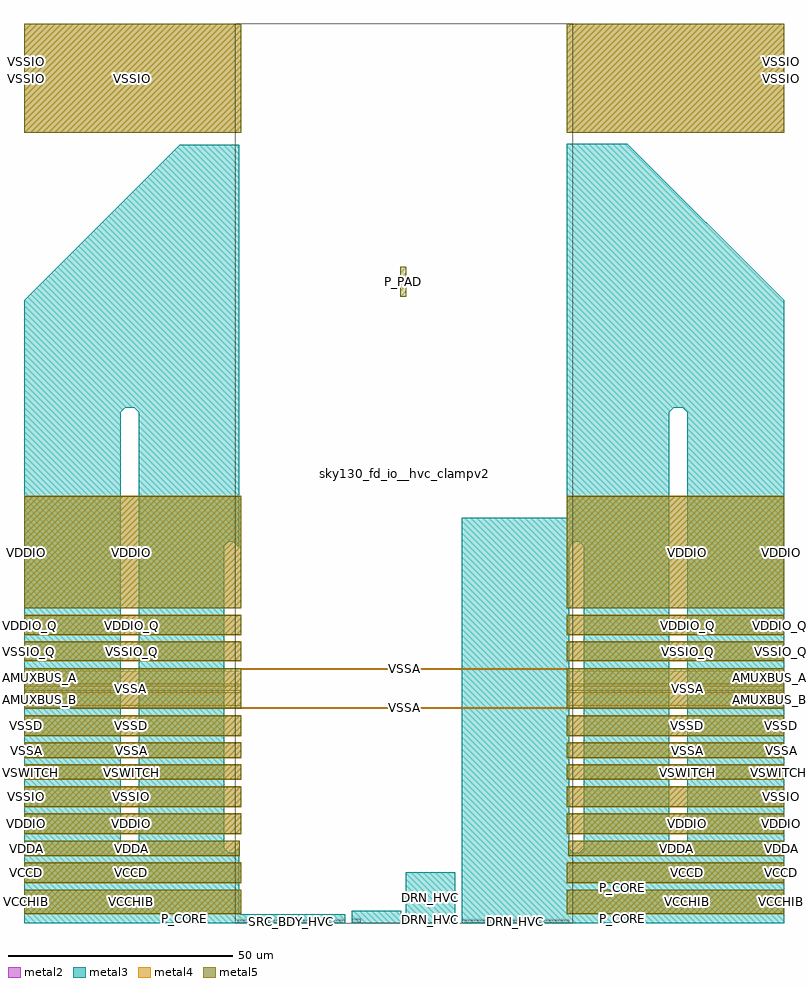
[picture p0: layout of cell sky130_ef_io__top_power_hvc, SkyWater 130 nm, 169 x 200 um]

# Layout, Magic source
magic
tech sky130A
magscale 1 2
<< metal2 >>
rect 9499 8993 14279 9141
rect 14579 8993 14979 9189
rect 19478 8993 24258 9141
<< metal3 >>
tri 0 36705 6919 43624 se
rect 6919 36705 9579 43624
rect 0 31925 9579 36705
rect 0 12130 4307 31925
tri 4307 31727 4505 31925 nw
tri 4897 31727 5095 31925 ne
rect 5095 31727 9579 31925
tri 5095 31725 5097 31727 ne
rect 5097 31030 9579 31727
rect 5096 25948 9579 31030
tri 5093 12327 5096 12330 se
rect 5096 12327 8904 25948
tri 8904 25748 9104 25948 nw
tri 9299 25748 9499 25948 ne
rect 9499 25748 9579 25948
rect 24146 36695 26838 43657
tri 26838 36695 33800 43657 sw
rect 24146 31925 33800 36695
rect 24146 31125 28705 31925
tri 28705 31725 28905 31925 nw
tri 29296 31725 29496 31925 ne
rect 24146 25948 28704 31125
rect 24146 25748 24258 25948
tri 24258 25748 24458 25948 nw
tri 24696 25748 24896 25948 ne
tri 4307 12130 4504 12327 sw
tri 4896 12130 5093 12327 se
rect 5093 12130 8904 12327
tri 8904 12130 9104 12330 sw
tri 9299 12130 9499 12330 se
rect 9499 12130 9579 12330
rect 24146 12130 24258 12330
tri 24258 12130 24458 12330 sw
tri 24696 12130 24896 12330 se
rect 24896 12130 28704 25948
tri 28704 12130 28904 12330 sw
tri 29296 12130 29496 12330 se
rect 29496 12130 33800 31925
rect 0 9384 9579 12130
rect 0 8993 14279 9384
rect 14579 8993 16779 9538
rect 16978 8993 19178 11259
rect 19478 8993 33800 12130
<< metal4 >>
rect 0 44150 9641 48993
rect 33546 44150 33800 48993
rect 0 23000 9543 27993
rect 25177 23000 33800 27993
rect 0 21810 9543 22700
rect 25177 21810 33800 22700
rect 0 20640 9543 21530
rect 25177 20640 33800 21530
rect 0 20274 33800 20340
rect 0 19618 254 20214
rect 33546 19618 33800 20214
rect 0 19322 9448 19558
rect 25177 19322 33800 19558
rect 0 18666 254 19262
rect 33546 18666 33800 19262
rect 0 18540 33800 18606
rect 0 17310 9450 18240
rect 25177 17310 33800 18240
rect 0 16340 9543 17030
rect 25177 16340 33800 17030
rect 0 15370 9543 16060
rect 25177 15370 33800 16060
rect 0 14160 9543 15090
rect 33546 14160 33800 15090
rect 0 12950 9543 13880
rect 24241 12950 33800 13880
rect 0 11980 9543 12670
rect 24241 11980 33800 12670
rect 0 10770 9543 11700
rect 25177 10770 33800 11700
rect 0 9400 9543 10490
rect 25177 9400 33800 10490
<< metal5 >>
rect 0 44150 254 48993
rect 33546 44150 33800 48993
rect 16729 36858 16994 38180
rect 0 23000 9543 27990
rect 33546 23000 33800 27990
rect 0 21830 9543 22680
rect 33546 21830 33800 22680
rect 0 20660 9543 21510
rect 33546 20660 33800 21510
rect 0 18540 9448 20340
rect 33546 18540 33800 20340
rect 0 17330 9543 18220
rect 33546 17330 33800 18220
rect 0 16360 9543 17010
rect 25177 16360 33800 17010
rect 0 15390 9543 16040
rect 33546 15390 33800 16040
rect 0 14180 9543 15070
rect 33546 14180 33800 15070
rect 0 12970 9543 13860
rect 25177 12970 33800 13860
rect 0 12000 9543 12650
rect 33546 12000 33800 12650
rect 0 10790 9543 11680
rect 33546 10790 33800 11680
rect 0 9420 9543 10470
rect 33546 9420 33800 10470
use sky130_fd_io__top_power_hvc_wpadv2  sky130_fd_io__top_power_hvc_wpadv2_0
transform 1 0 9400 0 1 8993
box 0 0 15000 40000
use sky130_ef_io__com_bus_slice_1um  sky130_ef_io__com_bus_slice_1um_2
transform 1 0 200 0 1 9400
box 0 0 200 39593
use sky130_ef_io__com_bus_slice_1um  sky130_ef_io__com_bus_slice_1um_3
transform 1 0 0 0 1 9400
box 0 0 200 39593
use sky130_ef_io__com_bus_slice_5um  sky130_ef_io__com_bus_slice_5um_1
transform 1 0 400 0 1 9400
box 0 0 1000 39593
use sky130_ef_io__com_bus_slice_20um  sky130_ef_io__com_bus_slice_20um_2
transform 1 0 5400 0 1 9400
box 0 0 4000 39593
use sky130_ef_io__com_bus_slice_20um  sky130_ef_io__com_bus_slice_20um_3
transform 1 0 1400 0 1 9400
box 0 0 4000 39593
use sky130_ef_io__com_bus_slice_20um  sky130_ef_io__com_bus_slice_20um_0
transform 1 0 28400 0 1 9400
box 0 0 4000 39593
use sky130_ef_io__com_bus_slice_20um  sky130_ef_io__com_bus_slice_20um_1
transform 1 0 24400 0 1 9400
box 0 0 4000 39593
use sky130_ef_io__com_bus_slice_1um  sky130_ef_io__com_bus_slice_1um_0
transform 1 0 33600 0 1 9400
box 0 0 200 39593
use sky130_ef_io__com_bus_slice_1um  sky130_ef_io__com_bus_slice_1um_1
transform 1 0 33400 0 1 9400
box 0 0 200 39593
use sky130_ef_io__com_bus_slice_5um  sky130_ef_io__com_bus_slice_5um_0
transform 1 0 32400 0 1 9400
box 0 0 1000 39593
<< labels >>
flabel metal4 s 33546 19618 33800 20214 3 FreeSans 650 180 0 0 AMUXBUS_A
port 1 nsew signal bidirectional
flabel metal4 s 0 19618 254 20214 3 FreeSans 650 0 0 0 AMUXBUS_A
port 1 nsew signal bidirectional
flabel metal4 s 33546 18666 33800 19262 3 FreeSans 650 180 0 0 AMUXBUS_B
port 2 nsew signal bidirectional
flabel metal4 s 0 18666 254 19262 3 FreeSans 650 0 0 0 AMUXBUS_B
port 2 nsew signal bidirectional
flabel metal2 s 19478 8993 24258 9141 2 FreeSans 2500 90 0 0 DRN_HVC
port 3 nsew power bidirectional
flabel metal3 s 16978 8993 19178 9311 0 FreeSans 2500 0 0 0 DRN_HVC
port 3 nsew power bidirectional
flabel metal2 s 9499 8993 14279 9141 2 FreeSans 2500 90 0 0 SRC_BDY_HVC
port 6 nsew ground bidirectional
flabel metal3 s 14579 8993 16779 9141 2 FreeSans 2500 90 0 0 SRC_BDY_HVC
port 6 nsew ground bidirectional
flabel metal5 s 16729 36858 16994 38180 0 FreeSans 2500 0 0 0 P_PAD
port 5 nsew power bidirectional
flabel metal5 s 33546 18540 33800 20340 3 FreeSans 650 180 0 0 VSSA
port 8 nsew ground bidirectional
flabel metal5 s 33546 16361 33800 17010 3 FreeSans 650 180 0 0 VSSA
port 8 nsew ground bidirectional
flabel metal4 s 33546 19322 33800 19558 3 FreeSans 650 180 0 0 VSSA
port 8 nsew ground bidirectional
flabel metal4 s 33546 20274 33800 20340 3 FreeSans 650 180 0 0 VSSA
port 8 nsew ground bidirectional
flabel metal4 s 33546 18540 33800 18606 3 FreeSans 650 180 0 0 VSSA
port 8 nsew ground bidirectional
flabel metal4 s 33546 16340 33800 17030 3 FreeSans 650 180 0 0 VSSA
port 8 nsew ground bidirectional
flabel metal5 s 0 18540 254 20340 3 FreeSans 650 0 0 0 VSSA
port 8 nsew ground bidirectional
flabel metal5 s 0 16361 254 17010 3 FreeSans 650 0 0 0 VSSA
port 8 nsew ground bidirectional
flabel metal4 s 0 18540 254 18606 3 FreeSans 650 0 0 0 VSSA
port 8 nsew ground bidirectional
flabel metal4 s 0 19322 254 19558 3 FreeSans 650 0 0 0 VSSA
port 8 nsew ground bidirectional
flabel metal4 s 0 20274 254 20340 3 FreeSans 650 0 0 0 VSSA
port 8 nsew ground bidirectional
flabel metal4 s 0 16340 254 17030 3 FreeSans 650 0 0 0 VSSA
port 8 nsew ground bidirectional
flabel metal3 s 0 8993 14279 9384 0 FreeSans 2500 0 0 0 P_CORE
port 4 nsew power bidirectional
flabel metal3 s 19478 8993 33757 9384 0 FreeSans 2500 0 0 0 P_CORE
port 4 nsew power bidirectional
flabel metal5 s 33607 12000 33800 12650 3 FreeSans 650 180 0 0 VDDA
port 9 nsew power bidirectional
flabel metal4 s 33607 11980 33800 12670 3 FreeSans 650 180 0 0 VDDA
port 9 nsew power bidirectional
flabel metal5 s 0 12000 193 12650 3 FreeSans 650 0 0 0 VDDA
port 9 nsew power bidirectional
flabel metal4 s 0 11980 193 12670 3 FreeSans 650 0 0 0 VDDA
port 9 nsew power bidirectional
flabel metal5 s 33546 15390 33800 16040 3 FreeSans 650 180 0 0 VSWITCH
port 10 nsew power bidirectional
flabel metal4 s 33546 15370 33800 16060 3 FreeSans 650 180 0 0 VSWITCH
port 10 nsew power bidirectional
flabel metal5 s 0 15390 254 16040 3 FreeSans 650 0 0 0 VSWITCH
port 10 nsew power bidirectional
flabel metal4 s 0 15370 254 16060 3 FreeSans 650 0 0 0 VSWITCH
port 10 nsew power bidirectional
flabel metal5 s 33546 21830 33800 22680 3 FreeSans 650 180 0 0 VDDIO_Q
port 11 nsew power bidirectional
flabel metal4 s 33546 21810 33800 22700 3 FreeSans 650 180 0 0 VDDIO_Q
port 11 nsew power bidirectional
flabel metal5 s 0 21830 254 22680 3 FreeSans 650 0 0 0 VDDIO_Q
port 11 nsew power bidirectional
flabel metal4 s 0 21810 254 22700 3 FreeSans 650 0 0 0 VDDIO_Q
port 11 nsew power bidirectional
flabel metal5 s 33546 9420 33800 10470 3 FreeSans 650 180 0 0 VCCHIB
port 12 nsew power bidirectional
flabel metal4 s 33546 9400 33800 10490 3 FreeSans 650 180 0 0 VCCHIB
port 12 nsew power bidirectional
flabel metal5 s 0 9420 254 10470 3 FreeSans 650 0 0 0 VCCHIB
port 12 nsew power bidirectional
flabel metal4 s 0 9400 254 10490 3 FreeSans 650 0 0 0 VCCHIB
port 12 nsew power bidirectional
flabel metal5 s 33546 23000 33800 27990 3 FreeSans 650 180 0 0 VDDIO
port 13 nsew power bidirectional
flabel metal5 s 33546 12970 33800 13860 3 FreeSans 650 180 0 0 VDDIO
port 13 nsew power bidirectional
flabel metal4 s 33546 12950 33800 13880 3 FreeSans 650 180 0 0 VDDIO
port 13 nsew power bidirectional
flabel metal4 s 33546 23000 33800 27993 3 FreeSans 650 180 0 0 VDDIO
port 13 nsew power bidirectional
flabel metal5 s 0 23000 254 27990 3 FreeSans 650 0 0 0 VDDIO
port 13 nsew power bidirectional
flabel metal5 s 0 12970 254 13860 3 FreeSans 650 0 0 0 VDDIO
port 13 nsew power bidirectional
flabel metal4 s 0 12950 254 13880 3 FreeSans 650 0 0 0 VDDIO
port 13 nsew power bidirectional
flabel metal4 s 0 23000 254 27993 3 FreeSans 650 0 0 0 VDDIO
port 13 nsew power bidirectional
flabel metal5 s 33546 10790 33800 11680 3 FreeSans 650 180 0 0 VCCD
port 14 nsew power bidirectional
flabel metal4 s 33546 10770 33800 11700 3 FreeSans 650 180 0 0 VCCD
port 14 nsew power bidirectional
flabel metal5 s 0 10790 254 11680 3 FreeSans 650 0 0 0 VCCD
port 14 nsew power bidirectional
flabel metal4 s 0 10770 254 11700 3 FreeSans 650 0 0 0 VCCD
port 14 nsew power bidirectional
flabel metal4 s 33546 44150 33800 48993 3 FreeSans 650 180 0 0 VSSIO
port 15 nsew ground bidirectional
flabel metal4 s 33673 47314 33673 47314 3 FreeSans 650 180 0 0 VSSIO
port 15 nsew
flabel metal5 s 33546 14180 33800 15070 3 FreeSans 650 180 0 0 VSSIO
port 15 nsew ground bidirectional
flabel metal4 s 33546 14160 33800 15090 3 FreeSans 650 180 0 0 VSSIO
port 15 nsew ground bidirectional
flabel metal4 s 33673 46571 33673 46571 3 FreeSans 650 180 0 0 VSSIO
port 15 nsew
flabel metal4 s 0 44150 254 48993 3 FreeSans 650 0 0 0 VSSIO
port 15 nsew ground bidirectional
flabel metal4 s 127 47314 127 47314 3 FreeSans 650 0 0 0 VSSIO
port 15 nsew
flabel metal5 s 0 14180 254 15070 3 FreeSans 650 0 0 0 VSSIO
port 15 nsew ground bidirectional
flabel metal4 s 127 46571 127 46571 3 FreeSans 650 0 0 0 VSSIO
port 15 nsew
flabel metal4 s 0 14160 254 15090 3 FreeSans 650 0 0 0 VSSIO
port 15 nsew ground bidirectional
flabel metal5 s 33546 17330 33800 18220 3 FreeSans 650 180 0 0 VSSD
port 16 nsew ground bidirectional
flabel metal4 s 33546 17310 33800 18240 3 FreeSans 650 180 0 0 VSSD
port 16 nsew ground bidirectional
flabel metal5 s 0 17330 254 18220 3 FreeSans 650 0 0 0 VSSD
port 16 nsew ground bidirectional
flabel metal4 s 0 17310 254 18240 3 FreeSans 650 0 0 0 VSSD
port 16 nsew ground bidirectional
flabel metal5 s 33546 20660 33800 21510 3 FreeSans 650 180 0 0 VSSIO_Q
port 17 nsew ground bidirectional
flabel metal4 s 33546 20640 33800 21530 3 FreeSans 650 180 0 0 VSSIO_Q
port 17 nsew ground bidirectional
flabel metal5 s 0 20660 254 21510 3 FreeSans 650 0 0 0 VSSIO_Q
port 17 nsew ground bidirectional
flabel metal4 s 0 20640 254 21530 3 FreeSans 650 0 0 0 VSSIO_Q
port 17 nsew ground bidirectional
rlabel metal4 s 0 19618 254 20214 1 AMUXBUS_A
port 1 nsew signal bidirectional
rlabel metal4 s 0 18666 254 19262 1 AMUXBUS_B
port 2 nsew signal bidirectional
rlabel metal3 s 16978 8993 19178 11259 1 DRN_HVC
port 3 nsew power bidirectional
rlabel metal3 s 19478 8993 33800 12130 1 P_CORE
port 4 nsew power bidirectional
rlabel metal3 s 14579 8993 16779 9538 1 SRC_BDY_HVC
port 6 nsew ground bidirectional
rlabel metal5 s 25177 16360 33800 17010 1 VSSA
port 7 nsew ground bidirectional
rlabel metal4 s 25177 19322 33800 19558 1 VSSA
port 7 nsew ground bidirectional
rlabel metal4 s 0 20274 33800 20340 1 VSSA
port 7 nsew ground bidirectional
rlabel metal4 s 0 18540 33800 18606 1 VSSA
port 7 nsew ground bidirectional
rlabel metal4 s 25177 16340 33800 17030 1 VSSA
port 7 nsew ground bidirectional
rlabel metal5 s 0 18540 9448 20340 1 VSSA
port 7 nsew ground bidirectional
rlabel metal5 s 0 16360 9543 17010 1 VSSA
port 7 nsew ground bidirectional
rlabel metal4 s 0 18540 254 18606 1 VSSA
port 7 nsew ground bidirectional
rlabel metal4 s 0 19322 9448 19558 1 VSSA
port 7 nsew ground bidirectional
rlabel metal4 s 0 20274 254 20340 1 VSSA
port 7 nsew ground bidirectional
rlabel metal4 s 0 16340 9543 17030 1 VSSA
port 7 nsew ground bidirectional
rlabel metal4 s 24241 11980 33800 12670 1 VDDA
port 8 nsew power bidirectional
rlabel metal5 s 0 12000 9543 12650 1 VDDA
port 8 nsew power bidirectional
rlabel metal4 s 0 11980 9543 12670 1 VDDA
port 8 nsew power bidirectional
rlabel metal4 s 25177 15370 33800 16060 1 VSWITCH
port 9 nsew power bidirectional
rlabel metal5 s 0 15390 9543 16040 1 VSWITCH
port 9 nsew power bidirectional
rlabel metal4 s 0 15370 9543 16060 1 VSWITCH
port 9 nsew power bidirectional
rlabel metal4 s 25177 21810 33800 22700 1 VDDIO_Q
port 10 nsew power bidirectional
rlabel metal5 s 0 21830 9543 22680 1 VDDIO_Q
port 10 nsew power bidirectional
rlabel metal4 s 0 21810 9543 22700 1 VDDIO_Q
port 10 nsew power bidirectional
rlabel metal4 s 25177 9400 33800 10490 1 VCCHIB
port 11 nsew power bidirectional
rlabel metal5 s 0 9420 9543 10470 1 VCCHIB
port 11 nsew power bidirectional
rlabel metal4 s 0 9400 9543 10490 1 VCCHIB
port 11 nsew power bidirectional
rlabel metal5 s 25177 12970 33800 13860 1 VDDIO
port 12 nsew power bidirectional
rlabel metal4 s 24241 12950 33800 13880 1 VDDIO
port 12 nsew power bidirectional
rlabel metal4 s 25177 23000 33800 27993 1 VDDIO
port 12 nsew power bidirectional
rlabel metal5 s 0 23000 9543 27990 1 VDDIO
port 12 nsew power bidirectional
rlabel metal5 s 0 12970 9543 13860 1 VDDIO
port 12 nsew power bidirectional
rlabel metal4 s 0 12950 9543 13880 1 VDDIO
port 12 nsew power bidirectional
rlabel metal4 s 0 23000 9543 27993 1 VDDIO
port 12 nsew power bidirectional
rlabel metal4 s 25177 10770 33800 11700 1 VCCD
port 13 nsew power bidirectional
rlabel metal5 s 0 10790 9543 11680 1 VCCD
port 13 nsew power bidirectional
rlabel metal4 s 0 10770 9543 11700 1 VCCD
port 13 nsew power bidirectional
rlabel metal4 s 0 44150 9641 48993 1 VSSIO
port 14 nsew ground bidirectional
rlabel metal4 s 126 47313 128 47315 1 VSSIO
port 14 nsew ground bidirectional
rlabel metal5 s 0 14180 9543 15070 1 VSSIO
port 14 nsew ground bidirectional
rlabel metal4 s 0 44150 254 48993 1 VSSIO
port 14 nsew ground bidirectional
rlabel metal4 s 0 14160 9543 15090 1 VSSIO
port 14 nsew ground bidirectional
rlabel metal4 s 25177 17310 33800 18240 1 VSSD
port 15 nsew ground bidirectional
rlabel metal5 s 0 17330 9543 18220 1 VSSD
port 15 nsew ground bidirectional
rlabel metal4 s 0 17310 9450 18240 1 VSSD
port 15 nsew ground bidirectional
rlabel metal4 s 25177 20640 33800 21530 1 VSSIO_Q
port 16 nsew ground bidirectional
rlabel metal5 s 0 20660 9543 21510 1 VSSIO_Q
port 16 nsew ground bidirectional
rlabel metal4 s 0 20640 9543 21530 1 VSSIO_Q
port 16 nsew ground bidirectional
<< properties >>
string LEFclass PAD POWER
string FIXED_BBOX 0 9400 33800 48993
string GDS_FILE $PDKPATH/libs.ref/sky130_fd_io/gds/sky130_ef_io.gds
string GDS_END 1824342
string GDS_START 1807708
<< end >>

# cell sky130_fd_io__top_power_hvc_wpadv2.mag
magic
tech sky130A
magscale 1 2
<< metal2 >>
rect 99 0 4879 148
rect 5179 0 5579 107
rect 10078 0 14858 148
<< metal3 >>
rect 99 0 4879 391
rect 5179 0 7379 545
rect 7578 0 9778 2266
rect 10078 0 14858 18037
<< metal4 >>
rect 0 35157 254 40000
rect 14746 35157 15000 40000
rect 0 14007 254 19000
rect 14746 14007 15000 19000
rect 0 12817 254 13707
rect 14746 12817 15000 13707
rect 0 11647 254 12537
rect 14746 11647 15000 12537
rect 0 11281 15000 11347
rect 0 10625 254 11221
rect 14746 10625 15000 11221
rect 0 10329 254 10565
rect 14746 10329 15000 10565
rect 0 9673 254 10269
rect 14746 9673 15000 10269
rect 0 9547 15000 9613
rect 0 8317 254 9247
rect 14746 8317 15000 9247
rect 0 7347 254 8037
rect 14746 7347 15000 8037
rect 0 6377 254 7067
rect 14746 6377 15000 7067
rect 0 5167 254 6097
rect 14746 5167 15000 6097
rect 0 3957 254 4887
rect 14746 3957 15000 4887
rect 0 2987 193 3677
rect 14807 2987 15000 3677
rect 0 1777 254 2707
rect 14746 1777 15000 2707
rect 0 407 254 1497
rect 14746 407 15000 1497
<< metal5 >>
rect 0 35157 254 40000
rect 14746 35157 15000 40000
rect 7329 27865 7594 29187
rect 0 14007 254 18997
rect 14746 14007 15000 18997
rect 0 12837 254 13687
rect 14746 12837 15000 13687
rect 0 11667 254 12517
rect 14746 11667 15000 12517
rect 0 9547 254 11347
rect 14746 9547 15000 11347
rect 0 8337 254 9227
rect 14746 8337 15000 9227
rect 0 7368 254 8017
rect 14746 7368 15000 8017
rect 0 6397 254 7047
rect 14746 6397 15000 7047
rect 0 5187 254 6077
rect 14746 5187 15000 6077
rect 0 3977 254 4867
rect 14746 3977 15000 4867
rect 0 3007 193 3657
rect 14807 3007 15000 3657
rect 0 1797 254 2687
rect 14746 1797 15000 2687
rect 0 427 254 1477
rect 14746 427 15000 1477
use sky130_fd_io__hvc_clampv2  sky130_fd_io__hvc_clampv2_0
transform 1 0 0 0 1 0
box 0 0 15000 40000
<< labels >>
flabel metal3 s 99 0 4879 391 0 FreeSans 2000 0 0 0 P_CORE
port 1 nsew default bidirectional
flabel metal3 s 7578 0 9778 318 0 FreeSans 2000 0 0 0 DRN_HVC
port 2 nsew default bidirectional
flabel metal3 s 10078 0 14858 391 0 FreeSans 2000 0 0 0 P_CORE
port 1 nsew default bidirectional
flabel metal3 s 5179 0 7379 148 2 FreeSans 2000 90 0 0 SRC_BDY_HVC
port 3 nsew default bidirectional
flabel metal2 s 10078 0 14858 148 2 FreeSans 2000 90 0 0 DRN_HVC
port 2 nsew default bidirectional
flabel metal2 s 99 0 4879 148 2 FreeSans 2000 90 0 0 SRC_BDY_HVC
port 3 nsew default bidirectional
flabel metal2 s 5179 0 5579 107 2 FreeSans 1000 90 0 0 OGC_HVC
port 4 nsew default bidirectional
flabel metal4 s 0 7347 254 8037 3 FreeSans 520 0 0 0 VSSA
port 5 nsew default bidirectional
flabel metal4 s 0 8317 254 9247 3 FreeSans 520 0 0 0 VSSD
port 6 nsew default bidirectional
flabel metal4 s 0 9673 254 10269 3 FreeSans 520 0 0 0 AMUXBUS_B
port 7 nsew default bidirectional
flabel metal4 s 0 10625 254 11221 3 FreeSans 520 0 0 0 AMUXBUS_A
port 8 nsew default bidirectional
flabel metal4 s 0 12817 254 13707 3 FreeSans 520 0 0 0 VDDIO_Q
port 9 nsew default bidirectional
flabel metal4 s 0 14007 254 19000 3 FreeSans 520 0 0 0 VDDIO
port 10 nsew default bidirectional
flabel metal4 s 0 6377 254 7067 3 FreeSans 520 0 0 0 VSWITCH
port 11 nsew default bidirectional
flabel metal4 s 0 5167 254 6097 3 FreeSans 520 0 0 0 VSSIO
port 12 nsew default bidirectional
flabel metal4 s 0 3957 254 4887 3 FreeSans 520 0 0 0 VDDIO
port 10 nsew default bidirectional
flabel metal4 s 0 2987 193 3677 3 FreeSans 520 0 0 0 VDDA
port 13 nsew default bidirectional
flabel metal4 s 0 1777 254 2707 3 FreeSans 520 0 0 0 VCCD
port 14 nsew default bidirectional
flabel metal4 s 0 407 254 1497 3 FreeSans 520 0 0 0 VCCHIB
port 15 nsew default bidirectional
flabel metal4 s 0 11281 254 11347 3 FreeSans 520 0 0 0 VSSA
port 5 nsew default bidirectional
flabel metal4 s 0 11647 254 12537 3 FreeSans 520 0 0 0 VSSIO_Q
port 16 nsew default bidirectional
flabel metal4 s 0 9547 254 9613 3 FreeSans 520 0 0 0 VSSA
port 5 nsew default bidirectional
flabel metal4 s 0 10329 254 10565 3 FreeSans 520 0 0 0 VSSA
port 5 nsew default bidirectional
flabel metal4 s 14746 7347 15000 8037 3 FreeSans 520 180 0 0 VSSA
port 5 nsew default bidirectional
flabel metal4 s 14746 8317 15000 9247 3 FreeSans 520 180 0 0 VSSD
port 6 nsew default bidirectional
flabel metal4 s 14746 9673 15000 10269 3 FreeSans 520 180 0 0 AMUXBUS_B
port 7 nsew default bidirectional
flabel metal4 s 14746 10625 15000 11221 3 FreeSans 520 180 0 0 AMUXBUS_A
port 8 nsew default bidirectional
flabel metal4 s 14746 12817 15000 13707 3 FreeSans 520 180 0 0 VDDIO_Q
port 9 nsew default bidirectional
flabel metal4 s 14746 14007 15000 19000 3 FreeSans 520 180 0 0 VDDIO
port 10 nsew default bidirectional
flabel metal4 s 14746 6377 15000 7067 3 FreeSans 520 180 0 0 VSWITCH
port 11 nsew default bidirectional
flabel metal4 s 14746 5167 15000 6097 3 FreeSans 520 180 0 0 VSSIO
port 12 nsew default bidirectional
flabel metal4 s 14746 3957 15000 4887 3 FreeSans 520 180 0 0 VDDIO
port 10 nsew default bidirectional
flabel metal4 s 14807 2987 15000 3677 3 FreeSans 520 180 0 0 VDDA
port 13 nsew default bidirectional
flabel metal4 s 14746 1777 15000 2707 3 FreeSans 520 180 0 0 VCCD
port 14 nsew default bidirectional
flabel metal4 s 14746 407 15000 1497 3 FreeSans 520 180 0 0 VCCHIB
port 15 nsew default bidirectional
flabel metal4 s 14746 11281 15000 11347 3 FreeSans 520 180 0 0 VSSA
port 5 nsew default bidirectional
flabel metal4 s 14746 11647 15000 12537 3 FreeSans 520 180 0 0 VSSIO_Q
port 16 nsew default bidirectional
flabel metal4 s 14746 9547 15000 9613 3 FreeSans 520 180 0 0 VSSA
port 5 nsew default bidirectional
flabel metal4 s 0 35157 254 40000 3 FreeSans 520 0 0 0 VSSIO
port 12 nsew default bidirectional
flabel metal4 s 127 38321 127 38321 3 FreeSans 520 0 0 0 VSSIO
port 12 nsew
flabel metal4 s 14746 35157 15000 40000 3 FreeSans 520 180 0 0 VSSIO
port 12 nsew default bidirectional
flabel metal4 s 14873 38321 14873 38321 3 FreeSans 520 180 0 0 VSSIO
port 12 nsew
flabel metal4 s 14746 10329 15000 10565 3 FreeSans 520 180 0 0 VSSA
port 5 nsew default bidirectional
flabel metal5 s 7329 27865 7594 29187 0 FreeSans 2000 0 0 0 P_PAD
port 17 nsew default bidirectional
flabel metal5 s 14746 5187 15000 6077 3 FreeSans 520 180 0 0 VSSIO
port 12 nsew default bidirectional
flabel metal5 s 14746 35157 15000 40000 3 FreeSans 520 180 0 0 VSSIO
port 12 nsew default bidirectional
flabel metal5 s 14746 12837 15000 13687 3 FreeSans 520 180 0 0 VDDIO_Q
port 9 nsew default bidirectional
flabel metal5 s 14746 11667 15000 12517 3 FreeSans 520 180 0 0 VSSIO_Q
port 16 nsew default bidirectional
flabel metal5 s 14746 6397 15000 7047 3 FreeSans 520 180 0 0 VSWITCH
port 11 nsew default bidirectional
flabel metal5 s 14746 7368 15000 8017 3 FreeSans 520 180 0 0 VSSA
port 5 nsew default bidirectional
flabel metal5 s 0 35157 254 40000 3 FreeSans 520 0 0 0 VSSIO
port 12 nsew default bidirectional
flabel metal5 s 0 9547 254 11347 3 FreeSans 520 0 0 0 VSSA
port 5 nsew default bidirectional
flabel metal5 s 0 3977 254 4867 3 FreeSans 520 0 0 0 VDDIO
port 10 nsew default bidirectional
flabel metal5 s 0 1797 254 2687 3 FreeSans 520 0 0 0 VCCD
port 14 nsew default bidirectional
flabel metal5 s 0 427 254 1477 3 FreeSans 520 0 0 0 VCCHIB
port 15 nsew default bidirectional
flabel metal5 s 0 3007 193 3657 3 FreeSans 520 0 0 0 VDDA
port 13 nsew default bidirectional
flabel metal5 s 0 14007 254 18997 3 FreeSans 520 0 0 0 VDDIO
port 10 nsew default bidirectional
flabel metal5 s 0 12837 254 13687 3 FreeSans 520 0 0 0 VDDIO_Q
port 9 nsew default bidirectional
flabel metal5 s 0 7368 254 8017 3 FreeSans 520 0 0 0 VSSA
port 5 nsew default bidirectional
flabel metal5 s 0 8337 254 9227 3 FreeSans 520 0 0 0 VSSD
port 6 nsew default bidirectional
flabel metal5 s 0 5187 254 6077 3 FreeSans 520 0 0 0 VSSIO
port 12 nsew default bidirectional
flabel metal5 s 0 6397 254 7047 3 FreeSans 520 0 0 0 VSWITCH
port 11 nsew default bidirectional
flabel metal5 s 0 11667 254 12517 3 FreeSans 520 0 0 0 VSSIO_Q
port 16 nsew default bidirectional
flabel metal5 s 14746 9547 15000 11347 3 FreeSans 520 180 0 0 VSSA
port 5 nsew default bidirectional
flabel metal5 s 14746 3977 15000 4867 3 FreeSans 520 180 0 0 VDDIO
port 10 nsew default bidirectional
flabel metal5 s 14746 1797 15000 2687 3 FreeSans 520 180 0 0 VCCD
port 14 nsew default bidirectional
flabel metal5 s 14746 427 15000 1477 3 FreeSans 520 180 0 0 VCCHIB
port 15 nsew default bidirectional
flabel metal5 s 14807 3007 15000 3657 3 FreeSans 520 180 0 0 VDDA
port 13 nsew default bidirectional
flabel metal5 s 14746 14007 15000 18997 3 FreeSans 520 180 0 0 VDDIO
port 10 nsew default bidirectional
flabel metal5 s 14746 8337 15000 9227 3 FreeSans 520 180 0 0 VSSD
port 6 nsew default bidirectional
rlabel metal4 s 14746 10625 15000 11221 1 AMUXBUS_A
port 8 nsew default bidirectional
rlabel metal4 s 14746 9673 15000 10269 1 AMUXBUS_B
port 7 nsew default bidirectional
rlabel metal3 s 7578 0 9778 2266 1 DRN_HVC
port 2 nsew default bidirectional
rlabel metal3 s 10078 0 14858 18037 1 P_CORE
port 1 nsew default bidirectional
rlabel metal3 s 5179 0 7379 545 1 SRC_BDY_HVC
port 3 nsew default bidirectional
rlabel metal4 s 14746 1777 15000 2707 1 VCCD
port 14 nsew default bidirectional
rlabel metal5 s 0 1797 254 2687 1 VCCD
port 14 nsew default bidirectional
rlabel metal5 s 14746 1797 15000 2687 1 VCCD
port 14 nsew default bidirectional
rlabel metal4 s 14746 407 15000 1497 1 VCCHIB
port 15 nsew default bidirectional
rlabel metal5 s 0 427 254 1477 1 VCCHIB
port 15 nsew default bidirectional
rlabel metal5 s 14746 427 15000 1477 1 VCCHIB
port 15 nsew default bidirectional
rlabel metal4 s 14807 2987 15000 3677 1 VDDA
port 13 nsew default bidirectional
rlabel metal5 s 0 3007 193 3657 1 VDDA
port 13 nsew default bidirectional
rlabel metal5 s 14807 3007 15000 3657 1 VDDA
port 13 nsew default bidirectional
rlabel metal4 s 0 14007 254 19000 1 VDDIO
port 10 nsew default bidirectional
rlabel metal4 s 14746 3957 15000 4887 1 VDDIO
port 10 nsew default bidirectional
rlabel metal4 s 14746 14007 15000 19000 1 VDDIO
port 10 nsew default bidirectional
rlabel metal5 s 0 3977 254 4867 1 VDDIO
port 10 nsew default bidirectional
rlabel metal5 s 0 14007 254 18997 1 VDDIO
port 10 nsew default bidirectional
rlabel metal5 s 14746 3977 15000 4867 1 VDDIO
port 10 nsew default bidirectional
rlabel metal5 s 14746 14007 15000 18997 1 VDDIO
port 10 nsew default bidirectional
rlabel metal4 s 14746 12817 15000 13707 1 VDDIO_Q
port 9 nsew default bidirectional
rlabel metal5 s 0 12837 254 13687 1 VDDIO_Q
port 9 nsew default bidirectional
rlabel metal5 s 14746 12837 15000 13687 1 VDDIO_Q
port 9 nsew default bidirectional
rlabel metal4 s 0 9547 15000 9613 1 VSSA
port 5 nsew default bidirectional
rlabel metal4 s 0 10329 254 10565 1 VSSA
port 5 nsew default bidirectional
rlabel metal4 s 0 11281 15000 11347 1 VSSA
port 5 nsew default bidirectional
rlabel metal4 s 14746 7347 15000 8037 1 VSSA
port 5 nsew default bidirectional
rlabel metal4 s 14746 9547 15000 9613 1 VSSA
port 5 nsew default bidirectional
rlabel metal4 s 14746 10329 15000 10565 1 VSSA
port 5 nsew default bidirectional
rlabel metal4 s 14746 11281 15000 11347 1 VSSA
port 5 nsew default bidirectional
rlabel metal5 s 0 7368 254 8017 1 VSSA
port 5 nsew default bidirectional
rlabel metal5 s 0 9547 254 11347 1 VSSA
port 5 nsew default bidirectional
rlabel metal5 s 14746 7368 15000 8017 1 VSSA
port 5 nsew default bidirectional
rlabel metal5 s 14746 9547 15000 11347 1 VSSA
port 5 nsew default bidirectional
rlabel metal4 s 14746 8317 15000 9247 1 VSSD
port 6 nsew default bidirectional
rlabel metal5 s 0 8337 254 9227 1 VSSD
port 6 nsew default bidirectional
rlabel metal5 s 14746 8337 15000 9227 1 VSSD
port 6 nsew default bidirectional
rlabel metal4 s 14746 35157 15000 40000 1 VSSIO
port 12 nsew default bidirectional
rlabel metal4 s 14746 5167 15000 6097 1 VSSIO
port 12 nsew default bidirectional
rlabel metal4 s 14872 38320 14874 38322 1 VSSIO
port 12 nsew default bidirectional
rlabel metal5 s 0 35157 254 40000 1 VSSIO
port 12 nsew default bidirectional
rlabel metal5 s 0 5187 254 6077 1 VSSIO
port 12 nsew default bidirectional
rlabel metal5 s 14746 35157 15000 40000 1 VSSIO
port 12 nsew default bidirectional
rlabel metal5 s 14746 5187 15000 6077 1 VSSIO
port 12 nsew default bidirectional
rlabel metal4 s 14746 11647 15000 12537 1 VSSIO_Q
port 16 nsew default bidirectional
rlabel metal5 s 0 11667 254 12517 1 VSSIO_Q
port 16 nsew default bidirectional
rlabel metal5 s 14746 11667 15000 12517 1 VSSIO_Q
port 16 nsew default bidirectional
rlabel metal4 s 14746 6377 15000 7067 1 VSWITCH
port 11 nsew default bidirectional
rlabel metal5 s 0 6397 254 7047 1 VSWITCH
port 11 nsew default bidirectional
rlabel metal5 s 14746 6397 15000 7047 1 VSWITCH
port 11 nsew default bidirectional
<< properties >>
string LEFclass BLOCK
string FIXED_BBOX 0 0 15000 40000
string GDS_FILE $PDKPATH/libs.ref/sky130_fd_io/gds/sky130_fd_io.gds
string GDS_END 30499890
string GDS_START 30490414
<< end >>

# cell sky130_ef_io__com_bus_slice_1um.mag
magic
tech sky130A
magscale 1 2
<< metal4 >>
rect 0 34750 200 39593
rect 0 13600 200 18593
rect 0 12410 200 13300
rect 0 11240 200 12130
rect 0 10874 200 10940
rect 0 10218 200 10814
rect 0 9922 200 10158
rect 0 9266 200 9862
rect 0 9140 200 9206
rect 0 7910 200 8840
rect 0 6940 200 7630
rect 0 5970 200 6660
rect 0 4760 200 5690
rect 0 3550 200 4480
rect 0 2580 200 3270
rect 0 1370 200 2300
rect 0 0 200 1090
<< metal5 >>
rect 0 34750 200 39593
rect 0 13600 200 18590
rect 0 12430 200 13280
rect 0 11260 200 12110
rect 0 9140 200 10940
rect 0 7930 200 8820
rect 0 6960 200 7610
rect 0 5990 200 6640
rect 0 4780 200 5670
rect 0 3570 200 4460
rect 0 2600 200 3250
rect 0 1390 200 2280
rect 0 20 200 1070
<< labels >>
flabel metal4 s 0 10218 200 10814 0 FreeSans 800 0 0 0 AMUXBUS_A
port 1 nsew signal bidirectional
flabel metal4 s 0 9266 200 9862 0 FreeSans 800 0 0 0 AMUXBUS_B
port 2 nsew signal bidirectional
flabel metal5 s 0 9140 200 10940 0 FreeSans 800 0 0 0 VSSA
port 3 nsew ground bidirectional
flabel metal4 s 0 10874 200 10940 0 FreeSans 800 0 0 0 VSSA
port 3 nsew ground bidirectional
flabel metal4 s 0 9140 200 9206 0 FreeSans 800 0 0 0 VSSA
port 3 nsew ground bidirectional
flabel metal5 s 0 6960 200 7610 0 FreeSans 800 0 0 0 VSSA
port 3 nsew ground bidirectional
flabel metal4 s 0 6940 200 7630 0 FreeSans 800 0 0 0 VSSA
port 3 nsew ground bidirectional
flabel metal5 s 0 2600 200 3250 0 FreeSans 800 0 0 0 VDDA
port 4 nsew power bidirectional
flabel metal4 s 0 2580 200 3270 0 FreeSans 800 0 0 0 VDDA
port 4 nsew power bidirectional
flabel metal5 s 0 5990 200 6640 0 FreeSans 800 0 0 0 VSWITCH
port 5 nsew power bidirectional
flabel metal4 s 0 5970 200 6660 0 FreeSans 800 0 0 0 VSWITCH
port 5 nsew power bidirectional
flabel metal5 s 0 12430 200 13280 0 FreeSans 800 0 0 0 VDDIO_Q
port 6 nsew power bidirectional
flabel metal4 s 0 12410 200 13300 0 FreeSans 800 0 0 0 VDDIO_Q
port 6 nsew power bidirectional
flabel metal5 s 0 20 200 1070 0 FreeSans 800 0 0 0 VCCHIB
port 7 nsew power bidirectional
flabel metal4 s 0 0 200 1090 0 FreeSans 800 0 0 0 VCCHIB
port 7 nsew power bidirectional
flabel metal5 s 0 13600 200 18590 0 FreeSans 800 0 0 0 VDDIO
port 8 nsew power bidirectional
flabel metal4 s 0 13600 200 18593 0 FreeSans 800 0 0 0 VDDIO
port 8 nsew power bidirectional
flabel metal5 s 0 3570 200 4460 0 FreeSans 800 0 0 0 VDDIO
port 8 nsew power bidirectional
flabel metal4 s 0 3550 200 4480 0 FreeSans 800 0 0 0 VDDIO
port 8 nsew power bidirectional
flabel metal5 s 0 1390 200 2280 0 FreeSans 800 0 0 0 VCCD
port 9 nsew power bidirectional
flabel metal4 s 0 1370 200 2300 0 FreeSans 800 0 0 0 VCCD
port 9 nsew power bidirectional
flabel metal5 s 0 4780 200 5670 0 FreeSans 800 0 0 0 VSSIO
port 10 nsew ground bidirectional
flabel metal4 s 0 4760 200 5690 0 FreeSans 800 0 0 0 VSSIO
port 10 nsew ground bidirectional
flabel metal5 s 0 34750 200 39593 0 FreeSans 800 0 0 0 VSSIO
port 10 nsew ground bidirectional
flabel metal5 s 0 7930 200 8820 0 FreeSans 800 0 0 0 VSSD
port 11 nsew ground bidirectional
flabel metal4 s 0 7910 200 8840 0 FreeSans 800 0 0 0 VSSD
port 11 nsew ground bidirectional
flabel metal5 s 0 11260 200 12110 0 FreeSans 800 0 0 0 VSSIO_Q
port 12 nsew ground bidirectional
flabel metal4 s 0 11240 200 12130 0 FreeSans 800 0 0 0 VSSIO_Q
port 12 nsew ground bidirectional
rlabel metal4 s 0 10874 200 10940 1 VSSA
port 3 nsew ground bidirectional
rlabel metal4 s 0 9140 200 9206 1 VSSA
port 3 nsew ground bidirectional
rlabel metal5 s 0 6960 200 7610 1 VSSA
port 3 nsew ground bidirectional
rlabel metal4 s 0 6940 200 7630 1 VSSA
port 3 nsew ground bidirectional
rlabel metal4 s 0 2580 200 3270 1 VDDA
port 4 nsew power bidirectional
rlabel metal4 s 0 5970 200 6660 1 VSWITCH
port 5 nsew power bidirectional
rlabel metal4 s 0 12410 200 13300 1 VDDIO_Q
port 6 nsew power bidirectional
rlabel metal4 s 0 0 200 1090 1 VCCHIB
port 7 nsew power bidirectional
rlabel metal4 s 0 13600 200 18593 1 VDDIO
port 8 nsew power bidirectional
rlabel metal5 s 0 3570 200 4460 1 VDDIO
port 8 nsew power bidirectional
rlabel metal4 s 0 3550 200 4480 1 VDDIO
port 8 nsew power bidirectional
rlabel metal4 s 0 1370 200 2300 1 VCCD
port 9 nsew power bidirectional
rlabel metal4 s 0 4760 200 5690 1 VSSIO
port 10 nsew ground bidirectional
rlabel metal5 s 0 34750 200 39593 1 VSSIO
port 10 nsew ground bidirectional
rlabel metal4 s 0 7910 200 8840 1 VSSD
port 11 nsew ground bidirectional
rlabel metal4 s 0 11240 200 12130 1 VSSIO_Q
port 12 nsew ground bidirectional
<< properties >>
string LEFclass PAD SPACER
string FIXED_BBOX 0 0 200 39593
string GDS_FILE $PDKPATH/libs.ref/sky130_fd_io/gds/sky130_ef_io.gds
string GDS_END 1707702
string GDS_START 1702076
<< end >>

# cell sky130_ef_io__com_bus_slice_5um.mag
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
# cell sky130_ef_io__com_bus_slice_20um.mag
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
